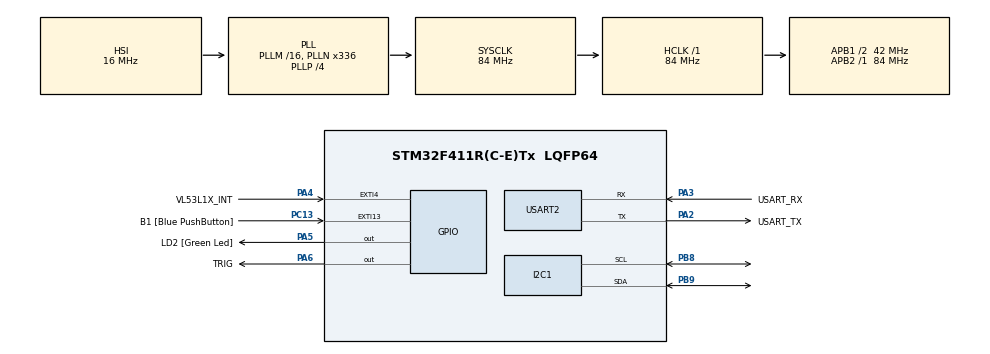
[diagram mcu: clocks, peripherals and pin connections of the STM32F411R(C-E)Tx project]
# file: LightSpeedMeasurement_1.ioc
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Mcu.Family=STM32F4
Mcu.Name=STM32F411R(C-E)Tx
Mcu.Package=LQFP64
NVIC.EXTI4_IRQn=true\:0\:0\:false\:false\:true\:true\:true\:true
NVIC.PriorityGroup=NVIC_PRIORITYGROUP_0
PA13.GPIO_Label=TMS
PA13.Mode=Serial_Wire
PA13.Signal=SYS_JTMS-SWDIO
PA14.GPIO_Label=TCK
PA14.Mode=Serial_Wire
PA14.Signal=SYS_JTCK-SWCLK
PA2.GPIO_Label=USART_TX
PA2.Mode=Asynchronous
PA2.Signal=USART2_TX
PA3.GPIO_Label=USART_RX
PA3.Mode=Asynchronous
PA3.Signal=USART2_RX
PA4.GPIO_Label=VL53L1X_INT
PA4.GPIO_ModeDefaultEXTI=GPIO_MODE_IT_FALLING
PA4.GPIO_PuPd=GPIO_PULLUP
PA4.Signal=GPXTI4
PA5.GPIO_Label=LD2 [Green Led]
PA5.Signal=GPIO_Output
PA6.GPIO_Label=TRIG
PA6.GPIO_Speed=GPIO_SPEED_FREQ_VERY_HIGH
PA6.Signal=GPIO_Output
PB3.GPIO_Label=SWO
PB3.Signal=SYS_JTDO-SWO
PB8.Mode=I2C
PB8.Signal=I2C1_SCL
PB9.Mode=I2C
PB9.Signal=I2C1_SDA
PC13-ANTI_TAMP.GPIO_Label=B1 [Blue PushButton]
PC13-ANTI_TAMP.GPIO_ModeDefaultEXTI=GPIO_MODE_IT_FALLING
PC13-ANTI_TAMP.Signal=GPXTI13
PC14-OSC32_IN.Mode=LSE-External-Oscillator
PC14-OSC32_IN.Signal=RCC_OSC32_IN
PC15-OSC32_OUT.Mode=LSE-External-Oscillator
PC15-OSC32_OUT.Signal=RCC_OSC32_OUT
PH0\ -\ OSC_IN.Mode=HSE-External-Clock-Source
PH0\ -\ OSC_IN.Signal=RCC_OSC_IN
PH1\ -\ OSC_OUT.Mode=HSE-External-Clock-Source
PH1\ -\ OSC_OUT.Signal=RCC_OSC_OUT
ProjectManager.HeapSize=0x200
ProjectManager.StackSize=0x400
ProjectManager.TargetToolchain=STM32CubeIDE
RCC.48MHZClocksFreq_Value=84000000
RCC.AHBFreq_Value=84000000
RCC.APB1CLKDivider=RCC_HCLK_DIV2
RCC.APB1Freq_Value=42000000
RCC.APB1TimFreq_Value=84000000
RCC.APB2Freq_Value=84000000
RCC.APB2TimFreq_Value=84000000
RCC.CortexFreq_Value=84000000
RCC.FLatency-AdvancedSettings=FLASH_LATENCY_2
RCC.HCLKFreq_Value=84000000
RCC.HSE_VALUE=8000000
RCC.HSI_VALUE=16000000
RCC.PLLN=336
RCC.PLLP=RCC_PLLP_DIV4
RCC.PWR_Regulator_Voltage_Scale=PWR_REGULATOR_VOLTAGE_SCALE2
RCC.SYSCLKFreq_VALUE=84000000
RCC.SYSCLKSource=RCC_SYSCLKSOURCE_PLLCLK
RCC.VCOOutputFreq_Value=336000000
TIM5.Prescaler=84-1
USART2.VirtualMode=VM_ASYNC
VP_TIM5_VS_ClockSourceINT.Mode=Internal
board=NUCLEO-F411RE

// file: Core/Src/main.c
/* USER CODE BEGIN Header */
/**
 ******************************************************************************
 * @file           : LiDAR_Main.c
 * @author         : Emanuel Zapata Querubin
 * @brief          : Desarrollo del Programa para el Sensor LiDAR 2D
 ******************************************************************************
 *
 ******************************************************************************
 */
/* USER CODE END Header */
#include "main.h"

/* USER CODE BEGIN Includes */
/* Se incluyen las libreías necesarias */
#include "stm32xxx_hal.h"
#include "vl53lx_api.h"
#include "vl53lx_def.h"
#include "53L3A2.h"
#include "stdio.h"
#include "stdbool.h"
#include "BasicTimer.h"
#include "StepMotorDriver.h"
#include "SysTickDriver.h"
#include "GPIOxDriver.h"
#include "USARTxDriver.h"
#include "FPU_Driver.h"

#include "GPIOxDriver.h"
#include "ExtiDriver.h"
#include "stdint.h"
#include "stdio.h"
#include "string.h"
/* USER CODE END Includes */

/* USER CODE BEGIN PD */
#define SIZE_RANGING_DATA	512
/* USER CODE END PD */

 I2C_HandleTypeDef hi2c1;

TIM_HandleTypeDef htim5;

UART_HandleTypeDef huart2;

/* USER CODE BEGIN PV */
VL53LX_Dev_t                   dev;
VL53LX_DEV                     Dev = &dev;
int status;
volatile int IntCount;
#define isInterrupt 1

I2C_HandleTypeDef hi2c1;
UART_HandleTypeDef huart2;

/* Definición de handlers */
GPIO_Handler_t 		handlerStateLED 					= {0};
BTIMER_Handler_t	handlerStateLedTimer				= {0};
GPIO_Handler_t 		handlerRxPIN	 					= {0};
GPIO_Handler_t 		handlerTxPIN	 					= {0};
EXTI_Config_t 		handlerEchoExti = {0};
USART_Handler_t		handlerUSART1						= {0};
GPIO_Handler_t		encoderOutA							= {0};
GPIO_Handler_t		encoderOutB							= {0};
uint8_t				encoderChannels[2]					= {0};

/* Handlers para el suicheo del sensor */
GPIO_Handler_t 		VL53L3CX_VDD						= {0};

/* Definicion de vairables */
// Para manejo de errores en la medición de distancias
uint16_t 			numMeasurmentErrors 				= 0;
uint8_t				errorMultipleObjects				= 0;
uint8_t				RangeErrors[50]						= {0};
uint8_t				RangeStatus     					= 0;

// Para la comunicación USART
char				bufferReception[32]					= {0};
char				bufferData[100]						= {0};
char				rxData 								= '\0';
uint16_t			counterReception					= 0;

// Para el control por comandos
unsigned int		firstParameter 						= 0;
unsigned int		secondParameter						= 0;
char				cmd[32] 							= {0};
char				userMsg[32] = {0};
bool				stringComplete						= false;

// Para el control de la medición
float				rangingData[SIZE_RANGING_DATA]		= {0};
float				meanRangingData						= 0;
float				angleData[SIZE_RANGING_DATA]		= {0};
uint16_t			counterRangigData					= 0;
float				Pulses = 0;

uint32_t	timeStamp = 0;
uint32_t	timeTravel = 0;
double 		distance = 0;
double 		distances[11] = {0};
double		times[11] = {0};
uint8_t		counterDistances = 0;
uint8_t 	flag = 0;

/* USER CODE END PV */

void SystemClock_Config(void);
static void MX_GPIO_Init(void);
static void MX_USART2_UART_Init(void);
static void MX_I2C1_Init(void);
static void MX_TIM5_Init(void);
/* USER CODE BEGIN PFP */
/* Definición de los prototipos */
void RangingLoop(void);
void RangingMeasurment(void);
void initSystem(void);
void Initial_Boot_VL53L3CX(void);
void RangeErrorsMsg(uint8_t status);
void RebootVL53L3CX(void);
void parseCommands(char *ptrBufferReception);
void stepMotorMove(StepMotor_Handler_t *pStepMotor, uint16_t numSteps, uint8_t direction);
void LiDAR_Start(void);
void getRangingData(void);
void WelcomeMsg(void);
void StaticRanging(unsigned int numData);
void Static(unsigned int numData);

void getLightSpeed(double* times, double* distances);
void initEXTI(void);
void Delay_us(uint16_t us);
void SendUltraPulse(void);
void send_uart2 (char *string);
void getDistance(uint32_t time);
/* USER CODE END PFP */

/* USER CODE BEGIN 0 */
#ifdef __GNUC__
#define PUTCHAR_PROTOTYPE int __io_putchar(int ch)
#else
#define PUTCHAR_PROTOTYPE int fputc(int ch, FILE *f)
#endif

PUTCHAR_PROTOTYPE
{
  HAL_UART_Transmit(&huart2, (uint8_t *)&ch, 1, HAL_MAX_DELAY);
  return ch;
}

/* Implementación del Callback para mediciones por interrupciones */
void HAL_GPIO_EXTI_Callback(uint16_t GPIO_Pin)
{
  if (GPIO_Pin==VL53L1X_INT_Pin)
  {
    IntCount++;
  }
}
/* USER CODE END 0 */

int main(void)
{

  /* MCU Configuration--------------------------------------------------------*/

  /* Reset of all peripherals, Initializes the Flash interface and the Systick. */
  HAL_Init();

  /* Configure the system clock */
  SystemClock_Config();

  /* USER CODE BEGIN SysInit */
  initSystem();
  initEXTI();
  /* USER CODE END SysInit */

  /* Initialize all configured peripherals */
  MX_GPIO_Init();
  MX_USART2_UART_Init();
  MX_I2C1_Init();
  MX_TIM5_Init();
  /* USER CODE BEGIN 2 */

  /**Configure the Systick interrupt time
  */
  HAL_SYSTICK_Config(HAL_RCC_GetHCLKFreq()/1000);

  /**Configure the Systick
  */
  HAL_SYSTICK_CLKSourceConfig(SYSTICK_CLKSOURCE_HCLK);

  /* SysTick_IRQn interrupt configuration */
  HAL_NVIC_SetPriority(SysTick_IRQn, 0, 0);

  // Mensaje de bienvenida
  WelcomeMsg();

  HAL_TIM_Base_Start(&htim5);

  Dev->I2cHandle = &hi2c1;
  Dev->I2cDevAddr = 0x52;

  /* USER CODE END 2 */

  /* Infinite loop */
  /* USER CODE BEGIN WHILE */
  while (1)
  {
	// Las siguientes operaciones se ejecutan cuando el USART utilizado reciba información
	if (rxData != '\0'){
		// Se comienzan a acumular los caracteres recibidos en un buffer
		bufferReception[counterReception] = rxData;
		counterReception++;
		// Si se recibe el caracter @ se activa la variable de estado que indica que se recibió la información necesaria
		if (rxData == '@'){
			stringComplete = true;
			bufferReception[counterReception] = '\0';  // Se hace nulo la posición del caracter @
			counterReception = 0;
		}
		rxData = '\0'; // Se hace nulo la variable rxData con el fin de que sólo se entre a la condición cuando el Usart recibe datos
	}
	// Las siguientes operaciones se ejecutan cuando el buffer de recepción tiene la información completa
	if (stringComplete){
		// Se llama a la función parseCommands, la cual ejecuta el código correspondiente al comando enviado vía USART
		stringComplete = false;
		parseCommands(bufferReception);
	}

//
//	SendUltraPulse();
//	HAL_Delay(500);
    /* USER CODE END WHILE */

  }
}

void SystemClock_Config(void)
{
  RCC_OscInitTypeDef RCC_OscInitStruct = {0};
  RCC_ClkInitTypeDef RCC_ClkInitStruct = {0};

  /** Configure the main internal regulator output voltage
  */
  __HAL_RCC_PWR_CLK_ENABLE();
  __HAL_PWR_VOLTAGESCALING_CONFIG(PWR_REGULATOR_VOLTAGE_SCALE2);

  /** Initializes the RCC Oscillators according to the specified parameters
  * in the RCC_OscInitTypeDef structure.
  */
  RCC_OscInitStruct.OscillatorType = RCC_OSCILLATORTYPE_HSI;
  RCC_OscInitStruct.HSIState = RCC_HSI_ON;
  RCC_OscInitStruct.HSICalibrationValue = RCC_HSICALIBRATION_DEFAULT;
  RCC_OscInitStruct.PLL.PLLState = RCC_PLL_ON;
  RCC_OscInitStruct.PLL.PLLSource = RCC_PLLSOURCE_HSI;
  RCC_OscInitStruct.PLL.PLLM = 16;
  RCC_OscInitStruct.PLL.PLLN = 336;
  RCC_OscInitStruct.PLL.PLLP = RCC_PLLP_DIV4;
  RCC_OscInitStruct.PLL.PLLQ = 4;
  if (HAL_RCC_OscConfig(&RCC_OscInitStruct) != HAL_OK)
  {
    Error_Handler();
  }

  /** Initializes the CPU, AHB and APB buses clocks
  */
  RCC_ClkInitStruct.ClockType = RCC_CLOCKTYPE_HCLK|RCC_CLOCKTYPE_SYSCLK
                              |RCC_CLOCKTYPE_PCLK1|RCC_CLOCKTYPE_PCLK2;
  RCC_ClkInitStruct.SYSCLKSource = RCC_SYSCLKSOURCE_PLLCLK;
  RCC_ClkInitStruct.AHBCLKDivider = RCC_SYSCLK_DIV1;
  RCC_ClkInitStruct.APB1CLKDivider = RCC_HCLK_DIV2;
  RCC_ClkInitStruct.APB2CLKDivider = RCC_HCLK_DIV1;

  if (HAL_RCC_ClockConfig(&RCC_ClkInitStruct, FLASH_LATENCY_2) != HAL_OK)
  {
    Error_Handler();
  }
}

static void MX_I2C1_Init(void)
{

  hi2c1.Instance = I2C1;
  hi2c1.Init.ClockSpeed = 100000;
  hi2c1.Init.DutyCycle = I2C_DUTYCYCLE_2;
  hi2c1.Init.OwnAddress1 = 0;
  hi2c1.Init.AddressingMode = I2C_ADDRESSINGMODE_7BIT;
  hi2c1.Init.DualAddressMode = I2C_DUALADDRESS_DISABLE;
  hi2c1.Init.OwnAddress2 = 0;
  hi2c1.Init.GeneralCallMode = I2C_GENERALCALL_DISABLE;
  hi2c1.Init.NoStretchMode = I2C_NOSTRETCH_DISABLE;
  if (HAL_I2C_Init(&hi2c1) != HAL_OK)
  {
    Error_Handler();
  }

}

static void MX_TIM5_Init(void)
{

  TIM_ClockConfigTypeDef sClockSourceConfig = {0};
  TIM_MasterConfigTypeDef sMasterConfig = {0};

  htim5.Instance = TIM5;
  htim5.Init.Prescaler = 84-1;
  htim5.Init.CounterMode = TIM_COUNTERMODE_UP;
  htim5.Init.Period = 4294967295;
  htim5.Init.ClockDivision = TIM_CLOCKDIVISION_DIV1;
  htim5.Init.AutoReloadPreload = TIM_AUTORELOAD_PRELOAD_DISABLE;
  if (HAL_TIM_Base_Init(&htim5) != HAL_OK)
  {
    Error_Handler();
  }
  sClockSourceConfig.ClockSource = TIM_CLOCKSOURCE_INTERNAL;
  if (HAL_TIM_ConfigClockSource(&htim5, &sClockSourceConfig) != HAL_OK)
  {
    Error_Handler();
  }
  sMasterConfig.MasterOutputTrigger = TIM_TRGO_RESET;
  sMasterConfig.MasterSlaveMode = TIM_MASTERSLAVEMODE_DISABLE;
  if (HAL_TIMEx_MasterConfigSynchronization(&htim5, &sMasterConfig) != HAL_OK)
  {
    Error_Handler();
  }

}

static void MX_USART2_UART_Init(void)
{

  huart2.Instance = USART2;
  huart2.Init.BaudRate = 115200;
  huart2.Init.WordLength = UART_WORDLENGTH_8B;
  huart2.Init.StopBits = UART_STOPBITS_1;
  huart2.Init.Parity = UART_PARITY_NONE;
  huart2.Init.Mode = UART_MODE_TX_RX;
  huart2.Init.HwFlowCtl = UART_HWCONTROL_NONE;
  huart2.Init.OverSampling = UART_OVERSAMPLING_16;
  if (HAL_UART_Init(&huart2) != HAL_OK)
  {
    Error_Handler();
  }

}

static void MX_GPIO_Init(void)
{
  GPIO_InitTypeDef GPIO_InitStruct = {0};

  /* GPIO Ports Clock Enable */
  __HAL_RCC_GPIOC_CLK_ENABLE();
  __HAL_RCC_GPIOH_CLK_ENABLE();
  __HAL_RCC_GPIOA_CLK_ENABLE();
  __HAL_RCC_GPIOB_CLK_ENABLE();

  /*Configure GPIO pin Output Level */
  HAL_GPIO_WritePin(GPIOA, LD2_Pin|TRIG_Pin, GPIO_PIN_RESET);

  /*Configure GPIO pin : B1_Pin */
  GPIO_InitStruct.Pin = B1_Pin;
  GPIO_InitStruct.Mode = GPIO_MODE_IT_FALLING;
  GPIO_InitStruct.Pull = GPIO_NOPULL;
  HAL_GPIO_Init(B1_GPIO_Port, &GPIO_InitStruct);

  /*Configure GPIO pin : VL53L1X_INT_Pin */
  GPIO_InitStruct.Pin = VL53L1X_INT_Pin;
  GPIO_InitStruct.Mode = GPIO_MODE_IT_FALLING;
  GPIO_InitStruct.Pull = GPIO_PULLUP;
  HAL_GPIO_Init(VL53L1X_INT_GPIO_Port, &GPIO_InitStruct);

  /*Configure GPIO pin : LD2_Pin */
  GPIO_InitStruct.Pin = LD2_Pin;
  GPIO_InitStruct.Mode = GPIO_MODE_OUTPUT_PP;
  GPIO_InitStruct.Pull = GPIO_NOPULL;
  GPIO_InitStruct.Speed = GPIO_SPEED_FREQ_LOW;
  HAL_GPIO_Init(LD2_GPIO_Port, &GPIO_InitStruct);

  /*Configure GPIO pin : TRIG_Pin */
  GPIO_InitStruct.Pin = TRIG_Pin;
  GPIO_InitStruct.Mode = GPIO_MODE_OUTPUT_PP;
  GPIO_InitStruct.Pull = GPIO_NOPULL;
  GPIO_InitStruct.Speed = GPIO_SPEED_FREQ_VERY_HIGH;
  HAL_GPIO_Init(TRIG_GPIO_Port, &GPIO_InitStruct);

  /* EXTI interrupt init*/
  HAL_NVIC_SetPriority(EXTI4_IRQn, 0, 0);
  HAL_NVIC_EnableIRQ(EXTI4_IRQn);

}

/* USER CODE BEGIN 4 */

void parseCommands(char *ptrBufferReception){
	/**
	 * La función parseCommands se encarga del control del programa por medio de comandos mediante el USART
	 */
	// Se toma la información del buffer recibido, leyendo el comando y el parámetro ingresado
	sscanf(ptrBufferReception, "%s %u %u %s",  cmd, &firstParameter, &secondParameter, userMsg);
	// Se ejecuta si el comando es "Menu"
	if (strcmp(cmd, "Menu") == 0){
		// Se imprime el Menu de comandos
		writeMsg(&handlerUSART1, "\nHelp Menu CMDS:\n");
		writeMsg(&handlerUSART1, "1)  Menu              -- Print this menu\n");
		writeMsg(&handlerUSART1, "8)  initToF           -- Initialize ToF Sensor\n");
		writeMsg(&handlerUSART1, "2)  StartMeasurement  -- Start Light Speed Measurement\n");
	}
	// Inicializar el Sensor ToF para poder comenzar a medir
	else if (strcmp(cmd, "initToF") == 0){
		writeMsg(&handlerUSART1, "CMD: initToF\n");
		Initial_Boot_VL53L3CX();
	}
	// Se comienza la acción principal del sensor, hacer el mapeo de la superficie 2D
	else if (strcmp(cmd, "StartMeasurement") == 0){
		writeMsg(&handlerUSART1, "CMD: Start\n");
		StaticRanging(firstParameter);
	}
	// Se hacen mediciones de distancia sin movimiento del motor
	else if (strcmp(cmd, "staticRanging") == 0){
		writeMsg(&handlerUSART1, "CMD: staticRanging\n");
		Static(firstParameter);
	}
	else {
		// En caso de que el comando no sea ninguno de los anteriores, se indica por consola que es incorrecto
		writeMsg(&handlerUSART1, "Incorrect Command!!!\n");
	}
}

void getRangingData(void){
	/**
	 * getRangingData se encarga de mostrar los datos de la medición por consola
	 */
	writeMsg(&handlerUSART1, "Angle(degrees)       Distance(mm)\n");
	for (uint16_t k = 0; k < SIZE_RANGING_DATA; k++){
		sprintf(bufferData, "%5f       %5f\n", angleData[k], rangingData[k]);
		writeMsg(&handlerUSART1, bufferData);
	}
}

void StaticRanging(unsigned int numData){
	/**
	 * StaticRanging hace numData mediciones con el sensor ToF
	 */
	for(uint8_t i = 0; i<11; i++){
		counterRangigData = 0;
		RangingMeasurment();
		SendUltraPulse();
		while (flag == 0){
		}
		distances[i] = distance;
		flag = 0;
		times[i] = (float) rangingData[0] * 3.335640952;
		sprintf(bufferData, "Time = %f ps    Distance= %f cm\n",times[i], distances[i]);
		send_uart2(bufferData);
		HAL_Delay(3000);
	}
	writeMsg(&handlerUSART1, "The Static Ranging has finished\n");
	getLightSpeed(times, distances);

}

void RangingMeasurment(void){
	/**
	 * RangingMeasurment se encarga de hacer una medición con el sensor ToF y guardarla en un arreglo, realmente hace 5 mediciones y toma el
	 * promedio. Está configurada para que no guarde medidas en caso de que sean erróneas, y que tome medidas solo cuando detecte un objeto
	 */
	int numObjects = 0;
	VL53LX_MultiRangingData_t MultiRangingData;
	VL53LX_MultiRangingData_t *pMultiRangingData = &MultiRangingData;
	uint8_t NewDataReady=0;
	uint8_t i = 0;
	HAL_Delay(2);
	if(status){
		writeMsg(&handlerUSART1, "VL53LX_StartMeasurement failed\n");
		while(1);
	}
	if (isInterrupt){
	do // HW interrupt mode
	{
	  __WFI();
	  if(IntCount !=0 ){
		IntCount=0;
		status = VL53LX_GetMultiRangingData(Dev, pMultiRangingData);
		numObjects = pMultiRangingData->NumberOfObjectsFound;
		RangeStatus = pMultiRangingData->RangeData->RangeStatus;
		// Control de errores, si se detecta un error se muestra por consola cúal es y se reinicia la medición
		// En caso de que hayan muchos errores se manda por consola un mensaje de error general
		if (RangeStatus){
			if (numMeasurmentErrors >= 3){
				writeMsg(&handlerUSART1, "The Tof Sensor is Failing, probably for the above reasons.\n");
			}
			RangeErrorsMsg(RangeStatus);
			numMeasurmentErrors++;
			HAL_Delay(250);
			status = VL53LX_ClearInterruptAndStartMeasurement(Dev);
			continue;
		}
		// Control de múltiples objetos, si se detecta más de un objeto se reinicia la medición
		// En caso de que se detecte varias veces la presencia de más de un objeto se manda el mensaje por consola
		if (numObjects > 1){
			if (errorMultipleObjects >= 3){
				writeMsg(&handlerUSART1, "There are multiple objects to range. There must only be one.\n");
			}
			errorMultipleObjects++;
			HAL_Delay(250);
			status = VL53LX_ClearInterruptAndStartMeasurement(Dev);
			continue;
		}
		meanRangingData += (float) pMultiRangingData->RangeData[0].RangeMilliMeter;
		i++;
		if (status==0){
		  status = VL53LX_ClearInterruptAndStartMeasurement(Dev);
		}

	  }
	}
	while(i < 5);
	}
	else{
	do{ // polling mode
	  status = VL53LX_GetMeasurementDataReady(Dev, &NewDataReady);
	  HAL_Delay(2); // 1 ms polling period, could be longer.
	  if((!status)&&(NewDataReady!=0)){
		status = VL53LX_GetMultiRangingData(Dev, pMultiRangingData);
		RangeStatus = pMultiRangingData->RangeData->RangeStatus;
		if (RangeStatus){
			if (numMeasurmentErrors >= 10){
				printf("%s\n", "The Tof Sensor is Failing");
			}
			RangeErrors[numMeasurmentErrors] = RangeStatus;
			numMeasurmentErrors++;
			pMultiRangingData->RangeData[0].RangeMilliMeter = 0;
			HAL_Delay(500);
			status = VL53LX_ClearInterruptAndStartMeasurement(Dev);
			continue;
		}
		printf("%5d", pMultiRangingData->RangeData[0].RangeMilliMeter);
		i++;
		numMeasurmentErrors = 0;
		printf ("\n");
		if (status==0){
		  status = VL53LX_ClearInterruptAndStartMeasurement(Dev);
		}
	  }
	}
	while (i < 1);
	}
	rangingData[counterRangigData] = meanRangingData/5.0;
	counterRangigData++;
	numMeasurmentErrors = 0;
	errorMultipleObjects = 0;
	meanRangingData = 0;
}

void initSystem(void){
	// Se configura el SysTick
	config_SysTickMs();

	/* Configuración del State LED */
	handlerStateLED.pGPIOx 								= GPIOC;
	handlerStateLED.GPIO_PinConfig.GPIO_PinNumber		= PIN_6;
	handlerStateLED.GPIO_PinConfig.GPIO_PinMode			= GPIO_MODE_OUT;		// Se configura el PIN en modo OUTPUT
	handlerStateLED.GPIO_PinConfig.GPIO_PinOPType		= GPIO_OTYPE_PUSHPULL;	// Se define el OUTPUT TYPE como Push-Pull, para poder hacer el blinky
	handlerStateLED.GPIO_PinConfig.GPIO_PinSpeed		= GPIO_OSPEED_MEDIUM;	// Se configura el OUTPUT con una velocidad MEDIUM
	// Se carga la configuración del State LED
	GPIO_Config(&handlerStateLED);

	/* Configuración para el suicheo del Sensor */
	VL53L3CX_VDD.pGPIOx = GPIOB;
	VL53L3CX_VDD.GPIO_PinConfig.GPIO_PinNumber = PIN_13;
	VL53L3CX_VDD.GPIO_PinConfig.GPIO_PinMode = GPIO_MODE_OUT;
	VL53L3CX_VDD.GPIO_PinConfig.GPIO_PinOPType = GPIO_OTYPE_PUSHPULL;
	VL53L3CX_VDD.GPIO_PinConfig.GPIO_PinPuPdControl = GPIO_PUPDR_NOTHING;
	VL53L3CX_VDD.GPIO_PinConfig.GPIO_PinSpeed = GPIO_OSPEED_HIGH;
	// Se carga la configuración y se inicia con el sensor apagado
	GPIO_Config(&VL53L3CX_VDD);
	GPIO_WritePin(&VL53L3CX_VDD, 0);

	/* Configuración del Timer2, que controla el blinky del StateLED */
	handlerStateLedTimer.ptrTIMx					= TIM2;
	handlerStateLedTimer.timerConfig.Timer_mode		= TIMER_MODE_UP;
	handlerStateLedTimer.timerConfig.Timer_speed	= TIMER_INCR_SPEED_100us;
	handlerStateLedTimer.timerConfig.Timer_period	= 2500;
	// Se carga la configuración del Timer2
	BTimer_Config(&handlerStateLedTimer);

	// Configuración del PIN que recibe la información por la USB (RX) */
	handlerRxPIN.pGPIOx								= GPIOA;
	handlerRxPIN.GPIO_PinConfig.GPIO_PinNumber		= PIN_10;
	handlerRxPIN.GPIO_PinConfig.GPIO_PinMode		= GPIO_MODE_ALTFN;
	handlerRxPIN.GPIO_PinConfig.GPIO_PinOPType		= GPIO_OTYPE_PUSHPULL;
	handlerRxPIN.GPIO_PinConfig.GPIO_PinPuPdControl	= GPIO_PUPDR_NOTHING;
	handlerRxPIN.GPIO_PinConfig.GPIO_PinSpeed		= GPIO_OSPEED_MEDIUM;
	handlerRxPIN.GPIO_PinConfig.GPIO_PinAltFunMode	= AF7;
	// Se carga la configuración del Rx PIN
	GPIO_Config(&handlerRxPIN);

	/* Configuración del PIN que envía la información por la USB (TX) */
	handlerTxPIN.pGPIOx								= GPIOA;
	handlerTxPIN.GPIO_PinConfig.GPIO_PinNumber		= PIN_9;
	handlerTxPIN.GPIO_PinConfig.GPIO_PinMode		= GPIO_MODE_ALTFN;
	handlerTxPIN.GPIO_PinConfig.GPIO_PinOPType		= GPIO_OTYPE_PUSHPULL;
	handlerTxPIN.GPIO_PinConfig.GPIO_PinPuPdControl	= GPIO_PUPDR_NOTHING;
	handlerTxPIN.GPIO_PinConfig.GPIO_PinSpeed		= GPIO_OSPEED_MEDIUM;
	handlerTxPIN.GPIO_PinConfig.GPIO_PinAltFunMode	= AF7;
	// Se carga la configuración del Tx PIN
	GPIO_Config(&handlerTxPIN);

	/* Configuración del USART1 */
	handlerUSART1.ptrUSARTx							= USART2;
	handlerUSART1.USART_Config.USART_mode			= USART_MODE_RXTX;
	handlerUSART1.USART_Config.USART_baudrate		= USART_BAUDRATE_115200;
	handlerUSART1.USART_Config.USART_datasize		= USART_DATASIZE_8BIT;
	handlerUSART1.USART_Config.USART_parity			= USART_PARITY_NONE;
	handlerUSART1.USART_Config.USART_stopbits		= USART_STOPBIT_1;
	handlerUSART1.USART_Config.USART_interrupt		= USART_INTERRUPT_RX;
	// Se carga la configuración del USART
	USART_Config(&handlerUSART1);

	/* Configuración para el output A del encoder */
	encoderOutA.pGPIOx 								= GPIOC;
	encoderOutA.GPIO_PinConfig.GPIO_PinNumber 		= PIN_15;
	encoderOutA.GPIO_PinConfig.GPIO_PinMode			= GPIO_MODE_INPUT;
	encoderOutA.GPIO_PinConfig.GPIO_PinPuPdControl	= GPIO_PUPDR_NOTHING;
	encoderOutA.GPIO_PinConfig.GPIO_PinSpeed		= GPIO_OSPEED_MEDIUM;
	// Se carga la configuración
	GPIO_Config(&encoderOutA);

	/* Configuració para el output B del encoder */
	encoderOutB.pGPIOx 								= GPIOC;
	encoderOutB.GPIO_PinConfig.GPIO_PinNumber 		= PIN_14;
	encoderOutB.GPIO_PinConfig.GPIO_PinMode			= GPIO_MODE_INPUT;
	encoderOutB.GPIO_PinConfig.GPIO_PinPuPdControl	= GPIO_PUPDR_NOTHING;
	encoderOutB.GPIO_PinConfig.GPIO_PinSpeed		= GPIO_OSPEED_MEDIUM;
	// Se carga la configuración
	GPIO_Config(&encoderOutB);

	// Inicialización del EXTI en el driver del motor
	initStepMotor();

}

void Initial_Boot_VL53L3CX(void){
	/**
	 * Esta función se encarga de inicializar correctamente el Sensor ToF, en caso de no logralo se informará por consola
	 */
	uint8_t byteData;
	uint16_t wordData;
	uint8_t ToFSensor = 1; // 0=Left, 1=Center(default), 2=Right
	GPIO_WritePin(&VL53L3CX_VDD, 0);
	HAL_Delay(2000);
	GPIO_WritePin(&VL53L3CX_VDD, 1);
	HAL_Delay(2);
	XNUCLEO53L3A2_Init();
	ToFSensor = 'c'; // Select ToFSensor: 0=Left, 1=Center, 2=Right
	status = XNUCLEO53L3A2_ResetId(ToFSensor, 0); // Reset ToF sensor
	HAL_Delay(2);
	status = XNUCLEO53L3A2_ResetId(ToFSensor, 1); // Reset ToF sensor
	HAL_Delay(2);
	VL53LX_RdByte(Dev, 0x010F, &byteData);
	sprintf(bufferData, "VL53LX Model_ID: %02X\n\r", byteData);
	writeMsg(&handlerUSART1, bufferData);
	VL53LX_RdByte(Dev, 0x0110, &byteData);
	sprintf(bufferData, "VL53LX Module_Type: %02X\n\r", byteData);
	writeMsg(&handlerUSART1, bufferData);
	VL53LX_RdWord(Dev, 0x010F, &wordData);
	sprintf(bufferData, "VL53LX: %02X\n\r", wordData);
	writeMsg(&handlerUSART1, bufferData);
	  //////////////////////////////////////////////////////////////////////////////////////////////////
	status = VL53LX_WaitDeviceBooted(Dev);
	while(status != VL53LX_ERROR_NONE){
		writeMsg(&handlerUSART1, "Not Booted\n");
		status = VL53LX_WaitDeviceBooted(Dev);
		HAL_Delay(10);
	}
	writeMsg(&handlerUSART1, "Device Booted\n");
	/////////////////////////////////////////////////////////////////////////////////////////////////////
	status = VL53LX_DataInit(Dev);
	while(status != VL53LX_ERROR_NONE){
		status = VL53LX_DataInit(Dev);
		HAL_Delay(10);
		writeMsg(&handlerUSART1, "Not Initialized\n");
	}
	writeMsg(&handlerUSART1, "Device Initialized\n");
	status = VL53LX_SetDistanceMode(Dev, VL53LX_DISTANCEMODE_MEDIUM);
	///////////////////////////////////////////////////////////////////////////////////////////////////
	status = 1;
	while(status != VL53LX_ERROR_NONE){
		status = VL53LX_StartMeasurement(Dev);
		HAL_Delay(10);
		writeMsg(&handlerUSART1, "Not Measuring\n");
	}
	writeMsg(&handlerUSART1, "Device ready to measure\n");
//	status = VL53LX_PerformRefSpadManagement(Dev);
//	status = VL53LX_SmudgeCorrectionEnable(Dev, VL53LX_SMUDGE_CORRECTION_CONTINUOUS);
//	status = VL53LX_SetXTalkCompensationEnable(Dev, 1);
//	status = VL53LX_SetOffsetCorrectionMode(Dev, VL53LX_OFFSETCORRECTIONMODE_STANDARD);
//	status = VL53LX_PerformOffsetZeroDistanceCalibration(Dev);
//	status = VL53LX_PerformXTalkCalibration(Dev);
}

void RangeErrorsMsg(uint8_t status){
	/**
	 * Esta función contiene los posibles errores que pueden darse durante la etapa de medición, con su respectivo mensaje de error por consola
	 */
	switch(status){
	case VL53LX_RANGESTATUS_SIGMA_FAIL:
	{
		writeMsg(&handlerUSART1, "Sigma estimator outofbounds\n");
		break;
	}
	case VL53LX_RANGESTATUS_SIGNAL_FAIL:
	{
		writeMsg(&handlerUSART1, "Signal too low to detect target\n");
		break;
	}
	case VL53LX_RANGESTATUS_OUTOFBOUNDS_FAIL:
	{
		writeMsg(&handlerUSART1, "Target out of bounds\n");
		break;
	}
	case VL53LX_RANGESTATUS_HARDWARE_FAIL:
	{
		writeMsg(&handlerUSART1, "Hardware or Tof sensor failure\n");
		break;
	}
	case VL53LX_RANGESTATUS_RANGE_VALID_NO_WRAP_CHECK_FAIL:
	{
		writeMsg(&handlerUSART1, "No wraparound check has been done (this is the very first range)\n");
		break;
	}
	case VL53LX_RANGESTATUS_WRAP_TARGET_FAIL:
	{
		writeMsg(&handlerUSART1, "Wraparound occurred\n");
		break;
	}
	case VL53LX_RANGESTATUS_PROCESSING_FAIL:
	{
		writeMsg(&handlerUSART1, "Internal processing error\n");
		break;
	}
	case VL53LX_RANGESTATUS_SYNCRONISATION_INT:
	{
		writeMsg(&handlerUSART1, "Raised one time after init, ranging value has to be ignored\n");
		break;
	}
	case VL53LX_RANGESTATUS_RANGE_VALID_MERGED_PULSE:
	{
		writeMsg(&handlerUSART1, "Ranging is OK, but distance reported is the result of multiple targets merged together.\n");
		break;
	}
	case VL53LX_RANGESTATUS_TARGET_PRESENT_LACK_OF_SIGNAL:
	{
		writeMsg(&handlerUSART1, "There is a target, but signal is too low to report ranging\n");
		break;
	}
	case VL53LX_RANGESTATUS_RANGE_INVALID:
	{
		writeMsg(&handlerUSART1, "Ranging data is negative and has to be ignored\n");
		break;
	}
	case VL53LX_RANGESTATUS_NONE:
	{
		writeMsg(&handlerUSART1, "Target not detected, without no warning or errors raised\n");
		break;
	}
	default:
	{
		break;
	}
	}
}

/* Implementacion del Callback para el timer2 */
void BTimer2_Callback(void){
	handlerStateLED.pGPIOx->ODR ^= GPIO_ODR_OD6;
}

/* Implementacion del Callback para el Usart2 */
void Usart2_RX_Callback(void){
	rxData = getRxData();
}

void WelcomeMsg(void){
	writeMsg(&handlerUSART1, "\n");
	writeMsg(&handlerUSART1, " @@@@  @@@@@     @@    @@ @@@@@   @@@@  @@@@@      @@@@  @@@@ @@  @@  @@@@   @@@@  @@@@@ \n");
	writeMsg(&handlerUSART1, "@@  @@ @@  @@    @@       @@  @@ @@  @@ @@  @@    @@     @@   @@@ @@ @@     @@  @@ @@  @@\n");
	writeMsg(&handlerUSART1, "   @@  @@  @@    @@    @@ @@  @@ @@@@@@ @@@@@      @@@@  @@@@ @@ @@@  @@@@  @@  @@ @@@@@_\n");
	writeMsg(&handlerUSART1, " @@    @@  @@    @@    @@ @@  @@ @@  @@ @@  @@        @@ @@   @@  @@     @@ @@  @@ @@  @@\n");
	writeMsg(&handlerUSART1, "@@@@@  @@@@@     @@@@@ @@ @@@@@  @@  @@ @@  @@     @@@@  @@@@ @@  @@  @@@@   @@@@  @@  @@\n\n");
	writeMsg(&handlerUSART1, "Write 'Menu @' to see the options\n");
}

void initEXTI(void){
	handlerEchoExti.EXTIx				= EXTI10;
	handlerEchoExti.pinPort				= PC;
	handlerEchoExti.pinPUPD_Mode     	= GPIO_PUPDR_PULLDOWN;
	handlerEchoExti.triggerMode			= FALLING_RISING_TRIGGER;
	exti_Config(&handlerEchoExti);
}

void Exti10_Rising_Callback(void){
	timeStamp = htim5.Instance->CNT;
}

void Exti10_Falling_Callback(void){
	timeTravel = htim5.Instance->CNT-timeStamp;
	getDistance(timeTravel);
	__HAL_TIM_SET_COUNTER(&htim5, 0);
}

void SendUltraPulse(void){
	Delay_us(5);
	HAL_GPIO_WritePin(TRIG_GPIO_Port, TRIG_Pin, 1);
	Delay_us(10);
	HAL_GPIO_WritePin(TRIG_GPIO_Port, TRIG_Pin, 0);
}

void Delay_us(uint16_t us){
	__HAL_TIM_SET_COUNTER(&htim5, 0);
	while (__HAL_TIM_GET_COUNTER(&htim5) < us);
}

void getDistance(uint32_t time){
	distance = (double) time / 58.0;
	if (distance < 2.0 || distance > 300.0){
		SendUltraPulse();
	} else{
		flag = 1;
	}
//	sprintf(bufferData, "Distance = %f cm\n", distance);
//	send_uart2(bufferData);
}

void getLightSpeed(double* times, double* distances){
	double lightSpeed = 0;
	double sumaX = 0;
	double sumaY = 0;
	double sumaX2 = 0;
	double sumaXY = 0;
	//Sumas
	for (uint8_t i = 1; i<11; i++){
		sumaX += times[i];
		sumaY += distances[i];
		sumaX2 += times[i]*times[i];
		sumaXY += times[i]*distances[i];
	}

	lightSpeed = (((10.0*sumaXY)-(sumaX*sumaY))*10000000000.0)/((10.0*sumaX2)-(sumaX*sumaX));
	sprintf(bufferData, "The Measured Speed of Light is %lf km/s\n", lightSpeed);
	send_uart2(bufferData);
}

void Static(unsigned int numData){
	/**
	 * StaticRanging hace numData mediciones con el sensor ToF
	 */
	while (numData > 0){
		counterRangigData = 0;
		RangingMeasurment();
		sprintf(bufferData, "Distance = %f mm\n",rangingData[0]);
		writeMsg(&handlerUSART1, bufferData);
		numData--;
		HAL_Delay(10);
	}
	writeMsg(&handlerUSART1, "The Static Ranging has finished\n");
	getLightSpeed(times, distances);
}

void send_uart2 (char *string)
{
	uint16_t len = strlen (string);
	HAL_UART_Transmit(&huart2, (uint8_t *) string, len, HAL_MAX_DELAY);  // transmit in blocking mode
}
/* USER CODE END 4 */

void Error_Handler(void)
{
  __disable_irq();
  while (1)
  {
  }
}
